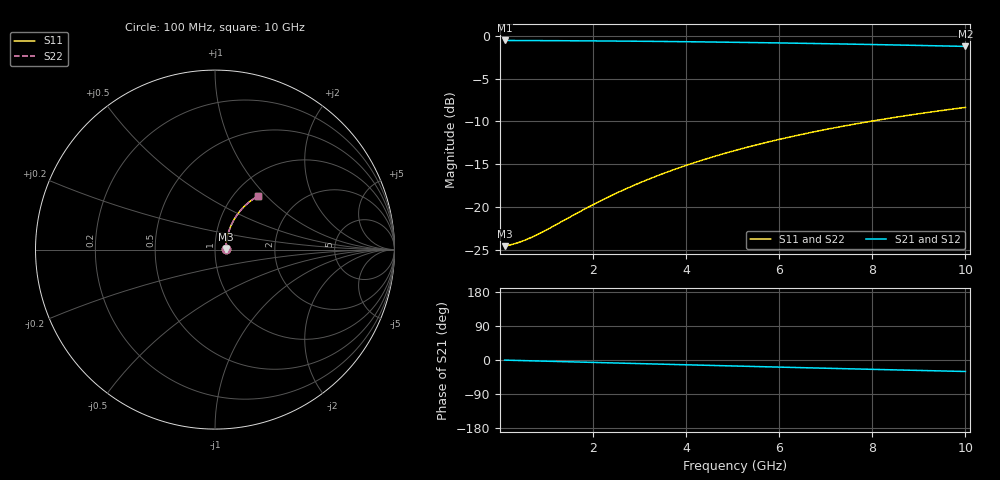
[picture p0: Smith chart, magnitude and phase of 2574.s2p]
# Hz S RI R 50.00
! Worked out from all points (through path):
!   100 points, 100 MHz to 10 GHz, reference 50 ohm
!   highest |S21| = -0.53 dB at 100 MHz (marker M1); lowest = -1.2 dB at 10 GHz (marker M2)
!   group delay of S21, straight-line fit = 8.44 ps
!   lowest |S11| = -24.6 dB at 100 MHz (marker M3), VSWR 1.13, Z = 56.2 + j0.435 ohm
!   |S11| at or under -10 dB: start of sweep to 7.95 GHz
!   |S22| runs from -24.6 to -8.4 dB; largest |S21 - S12| = 0
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1e8  0.0588 0.00385  0.9412 -0.00525  0.9412 -0.00525  0.0588 0.00385
3e8  0.0596 0.0115  0.9404 -0.0157  0.9404 -0.0157  0.0596 0.0115
4e8  0.06 0.0154  0.94 -0.021  0.94 -0.021  0.06 0.0154
5e8  0.0604 0.0192  0.9396 -0.0262  0.9396 -0.0262  0.0604 0.0192
7e8  0.0612 0.0269  0.9388 -0.0366  0.9388 -0.0366  0.0612 0.0269
1e9  0.0626 0.0383  0.9373 -0.0522  0.9373 -0.0522  0.0626 0.0383
1.8e9  0.0681 0.0684  0.9316 -0.0935  0.9316 -0.0935  0.0681 0.0684
2.2e9  0.0717 0.0832  0.9278 -0.1139  0.9278 -0.1139  0.0717 0.0832
2.6e9  0.0759 0.0978  0.9234 -0.134  0.9234 -0.134  0.0759 0.0978
3e9  0.0808 0.1121  0.9183 -0.154  0.9183 -0.154  0.0808 0.1121
3.4e9  0.0862 0.1262  0.9126 -0.1736  0.9126 -0.1736  0.0862 0.1262
3.8e9  0.0922 0.1399  0.9063 -0.193  0.9063 -0.193  0.0922 0.1399
4.2e9  0.0987 0.1533  0.8994 -0.212  0.8994 -0.212  0.0987 0.1533
4.6e9  0.1058 0.1663  0.892 -0.2306  0.892 -0.2306  0.1058 0.1663
5.1e9  0.1154 0.1821  0.882 -0.2534  0.882 -0.2534  0.1154 0.1821
5.5e9  0.1236 0.1942  0.8733 -0.2711  0.8733 -0.2711  0.1236 0.1942
5.9e9  0.1322 0.2059  0.8642 -0.2884  0.8642 -0.2884  0.1322 0.2059
6.7e9  0.1507 0.2279  0.8447 -0.3217  0.8447 -0.3217  0.1507 0.2279
7.5e9  0.1706 0.2479  0.8236 -0.3531  0.8236 -0.3531  0.1706 0.2479
8.4e9  0.1945 0.2681  0.7982 -0.386  0.7982 -0.386  0.1945 0.2681
9.2e9  0.2167 0.2838  0.7745 -0.4132  0.7745 -0.4132  0.2167 0.2838
1e10  0.2397 0.2975  0.75 -0.4383  0.75 -0.4383  0.2397 0.2975
